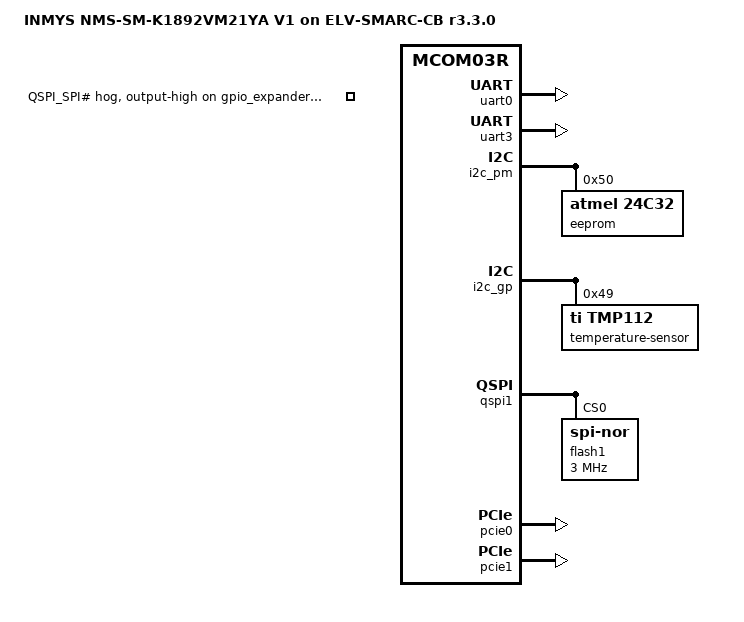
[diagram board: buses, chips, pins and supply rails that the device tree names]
// SPDX-License-Identifier: GPL-2.0+
/*
 * INMYS NMS-SM-K1892VM21YA V1 on ELV-SMARC-CB r3.3.0 - U-Boot device tree
 *
 * The ELV-SMARC-CB is the ELVEES reference SMARC carrier.  Its SD socket
 * (XS6) is fed from 3V3_SDIO through the load switch DA3, which is enabled
 * by SMARC SDIO_PWR_EN (module SDMMC0_PWR, pulled up on the module), and the
 * card detect switch goes to SMARC SDIO_CD#.
 *
 * Copyright (C) 2026 INMYS
 */

/dts-v1/;

#include <dt-bindings/gpio/gpio.h>

#include "mcom03r-nms-sm-k1892vm21ya.dtsi"

/ {
	model = "INMYS NMS-SM-K1892VM21YA V1 on ELV-SMARC-CB r3.3.0";
	compatible = "inmys,nms-sm-elvsmarccb",
		     "inmys,nms-sm-k1892vm21ya",
		     "inmys,nms-sm-k1892",
		     "elvees,mcom03r";

	aliases {
		ethernet0 = &emac0;
		ethernet1 = &emac1;
	};

	chosen {
		stdout-path = "serial0:115200n8";
	};
};

/* SER1_DBG is the USB Type-C debug UART on this carrier */
&uart0 {
	status = "okay";
	clock-frequency = <27920454>;
};

&uart3 {
	status = "okay";
	clock-frequency = <27920454>;
};

/*
 * SD socket XS6.  3.3 V only, and the clock pad drive strength has to be
 * raised on this PCB (see the ELVEES reference device tree).
 */
&sdhci0 {
	sdhci-caps-mask = <0x7 0x4000000>;
	sdhci-caps = <0x0 0x0>;
	elvees,drive-strength-clk = <6>;
};

/*
 * SMARC ID EEPROM DD4 (BL24C32A, 4 KiB, 2-byte addressing) sits directly on
 * I2C_PM at 0x50, exactly as the SMARC specification requires.  U-Boot's
 * board detection reads it through this node.
 */
&i2c_pm {
	eeprom@50 {
		compatible = "atmel,24c32";
		reg = <0x50>;
		pagesize = <32>;
	};
};

/*
 * Temperature sensor DA15 (TMP112B, fixed address 0x49) on I2C_GP.  The same
 * bus also serves the STM32 board controller (through R96/R97), so a probe of
 * this bus exercises the level shifter DD5 as well.
 */
&i2c_gp {
	temperature-sensor@49 {
		compatible = "ti,tmp112";
		reg = <0x49>;
	};
};

/*
 * QSPI1 flash socket XS7 (SOIC-8, ACA-SPI-004).  The socket is powered from
 * 1V8_SF-0 (ferrite L7 from +1v8) and the module routes QSPI1 to the SMARC
 * connector through the RS2299 crossbar D31/D32, so the pads are 1.8 V.
 *
 * The crossbar is selected by QSPI_SPI# = PCAL6416A P0_4 (D34 pin 5):
 * 1 -> COM connects to NO -> QSPI1 (CLK, SS0, IO0, IO1);
 * 0 -> COM connects to NC -> SPI1 (CLK, CS0, MOSI, MISO).
 * With P0_4 left as an input the pin sits on a 10k/10k divider (0.9 V),
 * i.e. between VIL(max) = 0.5 V and VIH(min) = 1.3 V, so it must be driven
 * explicitly before the flash can be reached:
 *
 *	gpio clear gpio@20_4   # actually 'gpio set gpio@20_4' for QSPI1
 *
 * IO2/IO3 are wired straight through, not through the crossbar.
 */
/*
 * Drive the crossbar select.  The PCAL6416A comes out of reset with every
 * pin as an input, so QSPI_SPI# would otherwise sit on a 10k/10k divider
 * (0.9 V) -- between VIL(max) = 0.5 V and VIH(min) = 1.3 V of the RS2299.
 * If the hog does not get applied for some reason, do it by hand:
 *
 *	i2c dev 6; i2c mw 20 2 10; i2c mw 20 6 ef
 */
&gpio_expander {
	qspi-spi-hog {
		gpio-hog;
		gpios = <4 GPIO_ACTIVE_HIGH>;
		output-high;
		line-name = "QSPI_SPI#";
	};
};

&qspi1 {
	status = "okay";
	elvees,pads-1v8-en;
	/*
	 * U-Boot's silvaco_qspi has no set_speed(), so spi-max-frequency is
	 * ignored and the serial clock is whatever clk_ext runs at.  Put it
	 * at 3 MHz, the highest rate ELVEES recommends for a socketed part.
	 */
	assigned-clock-rates = <93750000 3000000>;

	flash1: flash@0 {
		compatible = "jedec,spi-nor", "spi-flash";
		reg = <0x0>;
		/* Highest frequency for the IC installed into the socket */
		spi-max-frequency = <3000000>;
		spi-tx-bus-width = <4>;
		spi-rx-bus-width = <4>;
	};
};

&pcie0 {
	status = "okay";
};

&pcie1 {
	status = "okay";
};
